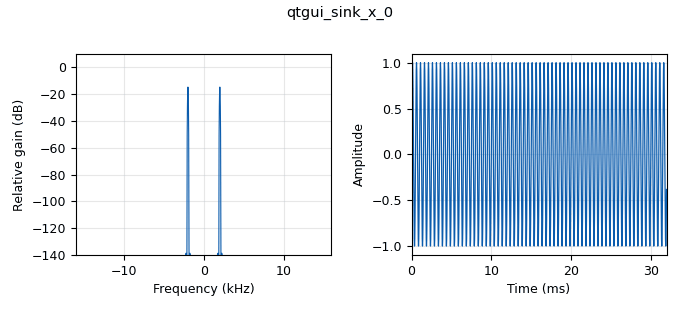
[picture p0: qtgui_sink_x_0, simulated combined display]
options:
  parameters:
    generate_options: qt_gui
    id: CosineWaveGeneration
    output_language: python
    title: CosineWaveGeneration
  states: {}

blocks:
- name: samp_rate
  id: variable
  parameters:
    value: '32000'
  states: {}
- name: analog_sig_source_x_0
  id: analog_sig_source_x
  parameters:
    amp: '1'
    freq: '2000'
    offset: '0'
    phase: '0'
    samp_rate: samp_rate
    type: float
    waveform: analog.GR_SIN_WAVE
  states: {}
- name: blocks_throttle_0
  id: blocks_throttle
  parameters:
    samples_per_second: samp_rate
    type: float
  states: {}
- name: qtgui_sink_x_0
  id: qtgui_sink_x
  parameters:
    bw: samp_rate
    fc: '0'
    fftsize: '1024'
    type: float
    wintype: firdes.WIN_BLACKMAN_hARRIS
  states: {}

connections:
- [analog_sig_source_x_0, '0', blocks_throttle_0, '0']
- [blocks_throttle_0, '0', qtgui_sink_x_0, '0']

metadata:
  file_format: 1
